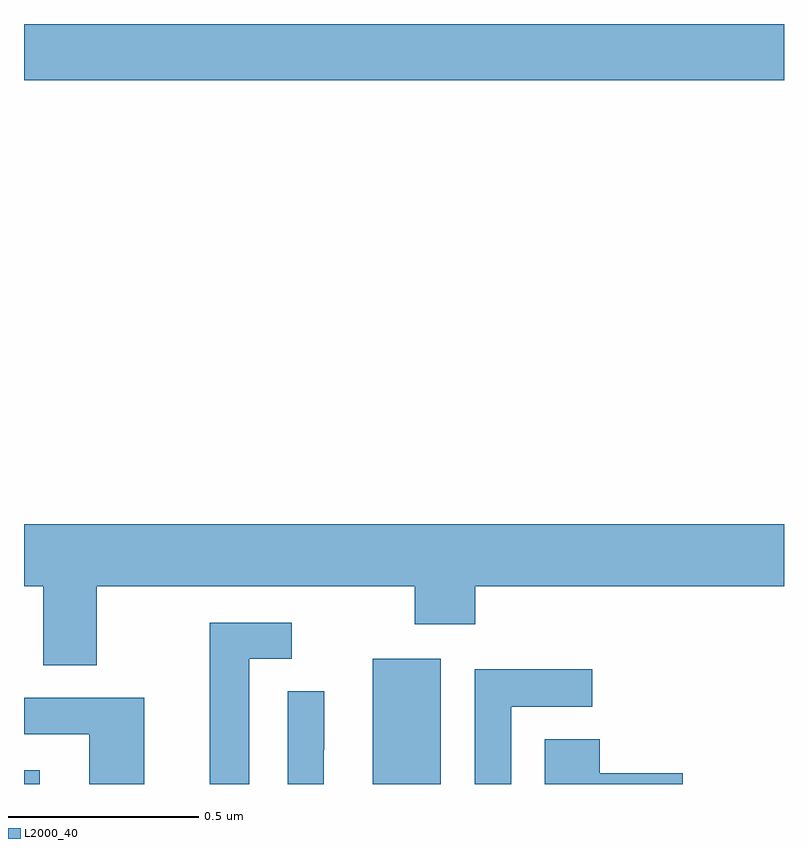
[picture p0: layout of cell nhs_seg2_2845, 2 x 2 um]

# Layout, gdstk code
import gdstk
lib = gdstk.Library(unit=1e-6, precision=1e-09)
def R(c, l, rs):  # rectangles x0, y0, x1, y1
    for r in rs: c.add(gdstk.rectangle(r[:2], r[2:], *l))
def P(c, l, *ps):  # polygons
    for p in ps: c.add(gdstk.Polygon(p, *l))
L2000_40 = (2000, 40)

nhs_seg2_2845 = lib.new_cell('nhs_seg2_2845')
R(nhs_seg2_2845, L2000_40, [(146,629.8,146.041,629.836), (146.918,629.8,147.097,630.13), (146,631.652,148,631.8)])
P(nhs_seg2_2845, L2000_40, [(146.191,630.32),(147.028,630.32),(147.028,630.221),(147.188,630.221),(147.188,630.32),(148,630.32),(148,630.484),(146,630.484),(146,630.32),(146.051,630.32),(146.051,630.112),(146.191,630.112)],
  [(146.593,630.129),(146.704,630.129),(146.704,630.225),(146.489,630.225),(146.489,629.8),(146.593,629.8)],
  [(147.282,630.003),(147.496,630.003),(147.496,630.102),(147.186,630.102),(147.186,629.8),(147.282,629.8)],
  [(146.789,629.89),(146.79,629.89),(146.79,630.044),(146.694,630.044),(146.694,629.8),(146.789,629.8)],
  [(146.317,630.027),(146,630.027),(146,629.931),(146.172,629.931),(146.172,629.8),(146.317,629.8)],
  [(147.733,629.828),(147.515,629.828),(147.515,629.918),(147.371,629.918),(147.371,629.8),(147.733,629.8)])

lib.write_gds('nhs_seg2_2845.gds')
